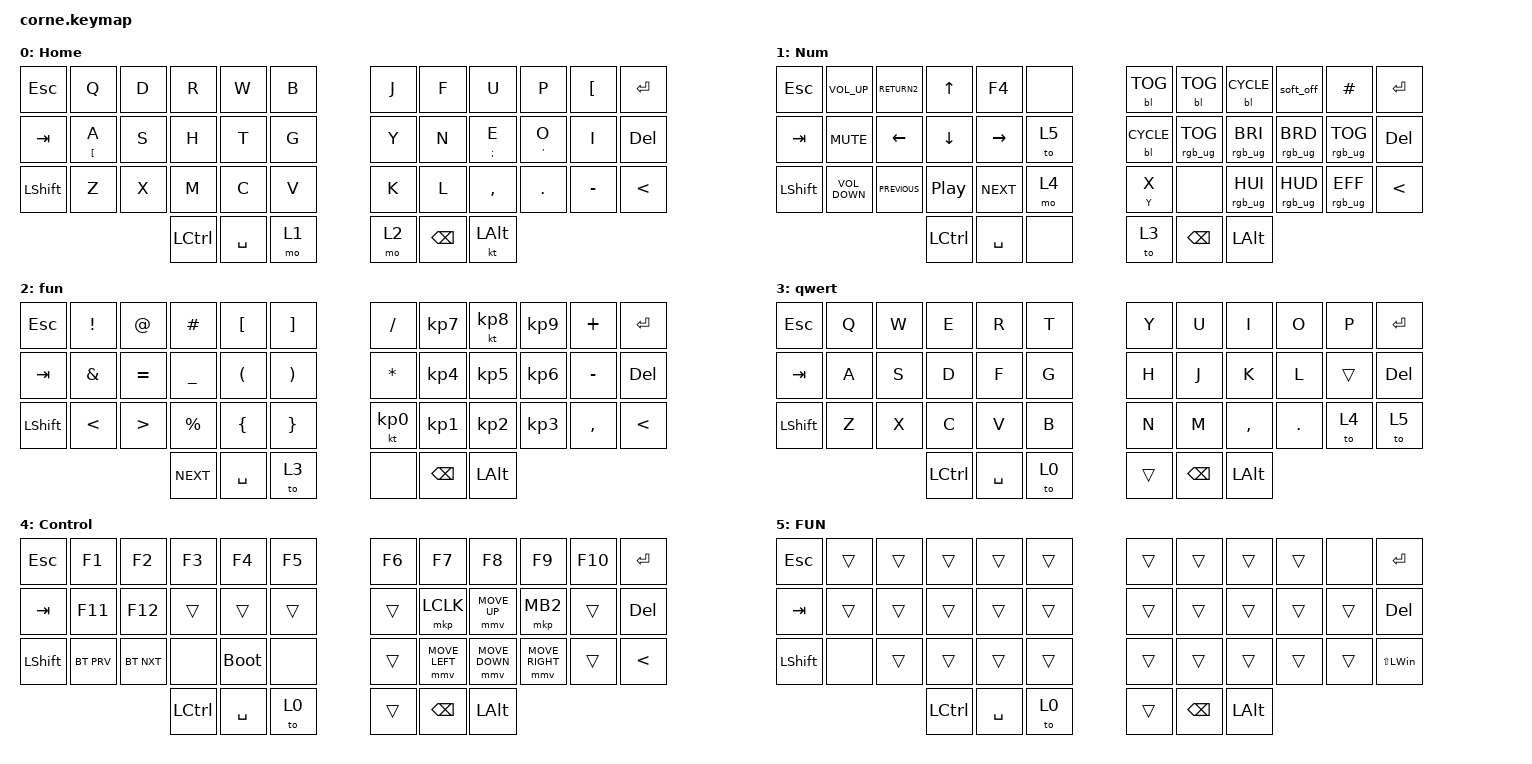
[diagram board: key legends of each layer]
/*
 * Copyright (c) 2020 The ZMK Contributors
 *
 * SPDX-License-Identifier: MIT
 */

#include <behaviors.dtsi>
#include <dt-bindings/zmk/backlight.h>
#include <dt-bindings/zmk/bt.h>
#include <dt-bindings/zmk/keys.h>
#include <dt-bindings/zmk/pointing.h>
#include <dt-bindings/zmk/rgb.h>

&mt {
    tapping-term-ms = <400>;
};

/ {
    keymap {
        compatible = "zmk,keymap";

        Home {
            // -----------------------------------------------------------------------------------------
            // |  TAB |  Q  |  W  |  E  |  R  |  T  |   |  Y  |  U   |  I  |  O  |  P  | BSPC |
            // | CTRL |  A  |  S  |  D  |  F  |  G  |   |  H  |  J   |  K  |  L  |  ;  |  '   |
            // | SHFT |  Z  |  X  |  C  |  V  |  B  |   |  N  |  M   |  æ  |  .  |  /  | ESC  |
            //                    | GUI | LWR | SPC |   | ENT | RSE  | ALT |

            bindings = <
&kp ESC    &kp Q               &kp D  &kp R      &kp W      &kp B    &kp J  &kp F          &kp U         &kp P       &kp LEFT_BRACKET  &kp ENTER
&kp TAB    &mt LEFT_BRACKET A  &kp S  &kp H      &kp T      &kp G    &kp Y  &kp N          &mt SEMI E    &mt APOS O  &kp I             &kp DELETE
&kp LSHFT  &kp Z               &kp X  &kp M      &kp C      &kp V    &kp K  &kp L          &kp COMMA     &kp PERIOD  &kp MINUS         &kp LESS_THAN
                                      &kp LCTRL  &kp SPACE  &mo 1    &mo 2  &kp BACKSPACE  &kt LEFT_ALT
            >;
        };

        Num {
            bindings = <
&kp ESC    &kp C_VOLUME_UP    &kp RETURN2     &kp UP_ARROW      &kp F4      &none    &bl BL_TOG    &bl BL_TOG       &bl BL_CYCLE     &soft_off        &kp HASH         &kp RET
&kp TAB    &kp K_MUTE         &kp LEFT_ARROW  &kp DOWN          &kp RIGHT   &to 5    &bl BL_CYCLE  &rgb_ug RGB_TOG  &rgb_ug RGB_BRI  &rgb_ug RGB_BRD  &rgb_ug RGB_TOG  &kp DEL
&kp LSHFT  &kp C_VOLUME_DOWN  &kp C_PREVIOUS  &kp C_PLAY_PAUSE  &kp C_NEXT  &mo 4    &mt Y X       &none            &rgb_ug RGB_HUI  &rgb_ug RGB_HUD  &rgb_ug RGB_EFF  &kp LESS_THAN
                                              &kp LCTRL         &kp SPACE   &none    &to 3         &kp BSPC         &kp LEFT_ALT
            >;
        };

        fun {
            bindings = <
&kp ESCAPE      &kp EXCLAMATION  &kp AT_SIGN       &kp HASH        &kp LEFT_BRACKET      &kp RIGHT_BRACKET        &kp SLASH        &kp KP_NUMBER_7  &kt KP_NUMBER_8  &kp KP_NUMBER_9  &kp PLUS   &kp ENTER
&kp TAB         &kp AMPERSAND    &kp EQUAL         &kp UNDERSCORE  &kp LEFT_PARENTHESIS  &kp RIGHT_PARENTHESIS    &kp ASTERISK     &kp KP_NUMBER_4  &kp KP_NUMBER_5  &kp KP_NUMBER_6  &kp MINUS  &kp DELETE
&kp LEFT_SHIFT  &kp LESS_THAN    &kp GREATER_THAN  &kp PERCENT     &kp LEFT_BRACE        &kp RIGHT_BRACE          &kt KP_NUMBER_0  &kp KP_NUMBER_1  &kp KP_NUMBER_2  &kp KP_NUMBER_3  &kp COMMA  &kp LESS_THAN
                                                   &kp C_NEXT      &kp SPACE             &to 3                    &none            &kp BACKSPACE    &kp LEFT_ALT
            >;
        };

        qwert {
            bindings = <
&kp ESC    &kp Q  &kp W  &kp E      &kp R      &kp T    &kp Y   &kp U     &kp I         &kp O    &kp P   &kp RET
&kp TAB    &kp A  &kp S  &kp D      &kp F      &kp G    &kp H   &kp J     &kp K         &kp L    &trans  &kp DEL
&kp LSHFT  &kp Z  &kp X  &kp C      &kp V      &kp B    &kp N   &kp M     &kp COMMA     &kp DOT  &to 4   &to 5
                         &kp LCTRL  &kp SPACE  &to 0    &trans  &kp BSPC  &kp LEFT_ALT
            >;
        };

        Control {
            bindings = <
&kp ESC    &kp F1      &kp F2      &kp F3     &kp F4       &kp F5    &kp F6  &kp F7          &kp F8          &kp F9           &kp F10  &kp RET
&kp TAB    &kp F11     &kp F12     &trans     &trans       &trans    &trans  &mkp LCLK       &mmv MOVE_UP    &mkp MB2         &trans   &kp DEL
&kp LSHFT  &bt BT_PRV  &bt BT_NXT  &none      &bootloader  &none     &trans  &mmv MOVE_LEFT  &mmv MOVE_DOWN  &mmv MOVE_RIGHT  &trans   &kp LT
                                   &kp LCTRL  &kp SPACE    &to 0     &trans  &kp BSPC        &kp LEFT_ALT
            >;
        };

        FUN {
            bindings = <
&kp ESC    &trans  &trans  &trans     &trans     &trans    &trans  &trans    &trans        &trans  &none   &kp RET
&kp TAB    &trans  &trans  &trans     &trans     &trans    &trans  &trans    &trans        &trans  &trans  &kp DEL
&kp LSHFT  &none   &trans  &trans     &trans     &trans    &trans  &trans    &trans        &trans  &trans  &kp LS(LWIN)
                           &kp LCTRL  &kp SPACE  &to 0     &trans  &kp BSPC  &kp LEFT_ALT
            >;
        };
    };
};
